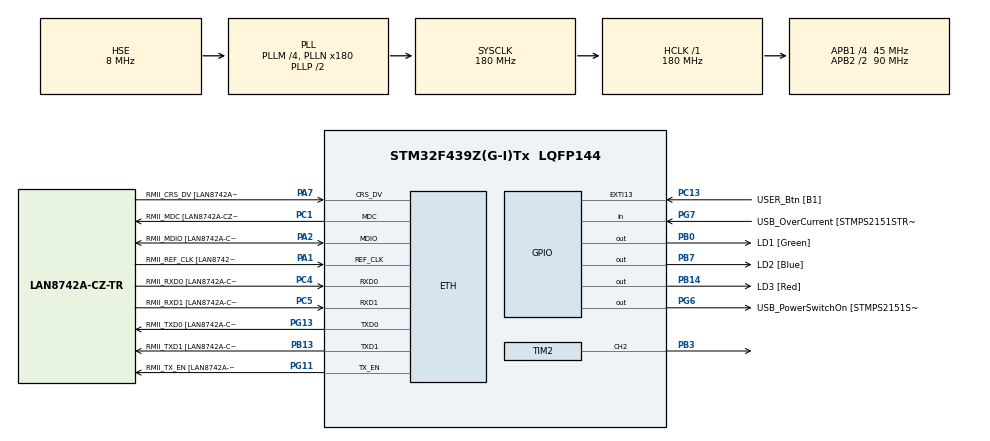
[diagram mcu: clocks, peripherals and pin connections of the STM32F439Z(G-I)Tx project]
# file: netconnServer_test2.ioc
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ETH.MACAddr=00\:80\:E1\:00\:00\:25
ETH.MediaInterface=ETH_MEDIA_INTERFACE_RMII
ETH.PhyAddress=0
ETH.RxMode=ETH_RXINTERRUPT_MODE
FREERTOS.Tasks01=UdsTask,24,128,StartUdsTask,Default,NULL,Dynamic,NULL,NULL;AppTask,24,128,StartAppTask,Default,NULL,Dynamic,NULL,NULL;InitTask,25,128,StartInitTask,Default,NULL,Dynamic,NULL,NULL;RefreshWDGTask,24,128,StartRefreshWDGTask,Default,NULL,Dynamic,NULL,NULL
FREERTOS.configUSE_NEWLIB_REENTRANT=1
HASH.KeySize=17
HASH.SecureHashAlgorithmType=HMAC SHA256
HASH.pKey=00 01 02 03 04 05 06 07 08 09 0A 0B 0C 0D 0E 0F 10
HASH.pKeyInput=000102030405060708090A0B0C0D0E0F10
IWDG.Prescaler=IWDG_PRESCALER_32
IWDG.Reload=4000
LWIP.GATEWAY_ADDRESS=169.254.084.058
LWIP.IP_ADDRESS=169.254.084.059
LWIP.LWIP_DHCP=0
LWIP.LWIP_TCP_SACK_OUT=1
LWIP.MEMP_NUM_TCP_SEG=100
LWIP.MEM_SIZE=21*1024
LWIP.NETMASK_ADDRESS=255.255.000.000
LWIP.PBUF_POOL_BUFSIZE=1500
LWIP.TCP_MSS=1426
LWIP.TCP_SND_BUF=11408
LWIP.TCP_SND_QUEUELEN=100
LWIP.TCP_WND=11408
LWIP.Version=v2.1.2_Cube
Mcu.Family=STM32F4
Mcu.Name=STM32F439Z(G-I)Tx
Mcu.Package=LQFP144
NVIC.ETH_IRQn=true\:5\:0\:false\:false\:true\:true\:false\:true
NVIC.PriorityGroup=NVIC_PRIORITYGROUP_4
NVIC.TIM1_UP_TIM10_IRQn=true\:15\:0\:false\:false\:true\:false\:false\:true
NVIC.TIM2_IRQn=true\:5\:0\:false\:false\:true\:true\:true\:true
NVIC.TimeBase=TIM1_UP_TIM10_IRQn
NVIC.TimeBaseIP=TIM1
PA1.GPIO_Label=RMII_REF_CLK [LAN8742A-CZ-TR_REFCLK0]
PA1.Mode=RMII
PA1.Signal=ETH_REF_CLK
PA10.GPIO_Label=USB_ID
PA10.Signal=USB_OTG_FS_ID
PA11.GPIO_Label=USB_DM
PA11.Signal=USB_OTG_FS_DM
PA12.GPIO_Label=USB_DP
PA12.Signal=USB_OTG_FS_DP
PA13.GPIO_Label=TMS
PA13.Signal=SYS_JTMS-SWDIO
PA14.GPIO_Label=TCK
PA14.Signal=SYS_JTCK-SWCLK
PA2.GPIO_Label=RMII_MDIO [LAN8742A-CZ-TR_MDIO]
PA2.Mode=RMII
PA2.Signal=ETH_MDIO
PA7.GPIO_Label=RMII_CRS_DV [LAN8742A-CZ-TR_CRS_DV]
PA7.Mode=RMII
PA7.Signal=ETH_CRS_DV
PA8.GPIO_Label=USB_SOF [TP1]
PA8.Signal=USB_OTG_FS_SOF
PA9.GPIO_Label=USB_VBUS
PA9.Signal=USB_OTG_FS_VBUS
PB0.GPIO_Label=LD1 [Green]
PB0.Signal=GPIO_Output
PB13.GPIO_Label=RMII_TXD1 [LAN8742A-CZ-TR_TXD1]
PB13.Mode=RMII
PB13.Signal=ETH_TXD1
PB14.GPIO_Label=LD3 [Red]
PB14.Signal=GPIO_Output
PB3.Signal=S_TIM2_CH2
PB7.GPIO_Label=LD2 [Blue]
PB7.Signal=GPIO_Output
PC1.GPIO_Label=RMII_MDC [LAN8742A-CZ-TR_MDC]
PC1.Mode=RMII
PC1.Signal=ETH_MDC
PC13.GPIO_Label=USER_Btn [B1]
PC13.Signal=GPXTI13
PC14/OSC32_IN.Signal=RCC_OSC32_IN
PC15/OSC32_OUT.Signal=RCC_OSC32_OUT
PC4.GPIO_Label=RMII_RXD0 [LAN8742A-CZ-TR_RXD0]
PC4.Mode=RMII
PC4.Signal=ETH_RXD0
PC5.GPIO_Label=RMII_RXD1 [LAN8742A-CZ-TR_RXD1]
PC5.Mode=RMII
PC5.Signal=ETH_RXD1
PD8.GPIO_Label=STLK_RX [STM32F103CBT6_PA3]
PD8.Signal=USART3_TX
PD9.GPIO_Label=STLK_TX [STM32F103CBT6_PA2]
PD9.Signal=USART3_RX
PG11.GPIO_Label=RMII_TX_EN [LAN8742A-CZ-TR_TXEN]
PG11.Mode=RMII
PG11.Signal=ETH_TX_EN
PG13.GPIO_Label=RMII_TXD0 [LAN8742A-CZ-TR_TXD0]
PG13.Mode=RMII
PG13.Signal=ETH_TXD0
PG6.GPIO_Label=USB_PowerSwitchOn [STMPS2151STR_EN]
PG6.Signal=GPIO_Output
PG7.GPIO_Label=USB_OverCurrent [STMPS2151STR_FAULT]
PG7.Signal=GPIO_Input
PH0/OSC_IN.GPIO_Label=MCO [STM32F103CBT6_PA8]
PH0/OSC_IN.Mode=HSE-External-Oscillator
PH0/OSC_IN.Signal=RCC_OSC_IN
PH1/OSC_OUT.Mode=HSE-External-Oscillator
PH1/OSC_OUT.Signal=RCC_OSC_OUT
ProjectManager.HeapSize=0x200
ProjectManager.StackSize=0x400
ProjectManager.TargetToolchain=STM32CubeIDE
RCC.48MHZClocksFreq_Value=45000000
RCC.AHBFreq_Value=180000000
RCC.APB1CLKDivider=RCC_HCLK_DIV4
RCC.APB1Freq_Value=45000000
RCC.APB1TimFreq_Value=90000000
RCC.APB2CLKDivider=RCC_HCLK_DIV2
RCC.APB2Freq_Value=90000000
RCC.APB2TimFreq_Value=180000000
RCC.CortexFreq_Value=180000000
RCC.HCLKFreq_Value=180000000
RCC.HSE_VALUE=8000000
RCC.HSI_VALUE=16000000
RCC.LSE_VALUE=32768
RCC.PLLM=4
RCC.PLLMUL=RCC_PLL_MUL9
RCC.PLLN=180
RCC.PLLQ=8
RCC.PLLSourceVirtual=RCC_PLLSOURCE_HSE
RCC.PRESCALERUSB=RCC_USBCLKSOURCE_PLL_DIV1_5
RCC.SYSCLKFreq_VALUE=180000000
RCC.SYSCLKSource=RCC_SYSCLKSOURCE_PLLCLK
RCC.SYSCLKSourceVirtual=RCC_SYSCLKSOURCE_PLLCLK
RCC.USBFreq_Value=48000000
RCC.VCOOutputFreq_Value=360000000
SH.S_TIM2_CH2.0=TIM2_CH2,PWM Generation2 CH2
TIM2.Channel-PWM\ Generation2\ CH2=TIM_CHANNEL_2
TIM2.CounterMode=TIM_COUNTERMODE_DOWN
TIM2.Period=1000
TIM2.Prescaler=1800
VP_CRC_VS_CRC.Mode=CRC_Activate
VP_FREERTOS_VS_CMSIS_V2.Mode=CMSIS_V2
VP_HASH_VS_HASH.Mode=HASH_Activate
VP_IWDG_VS_IWDG.Mode=IWDG_Activate
VP_LWIP_VS_Enabled.Mode=Enabled
VP_RNG_VS_RNG.Mode=RNG_Activate
VP_RTC_VS_RTC_Activate.Mode=RTC_Enabled
VP_SYS_VS_tim1.Mode=TIM1
VP_TIM2_VS_ClockSourceINT.Mode=Internal
board=NUCLEO-F439ZI

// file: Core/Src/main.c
/* USER CODE BEGIN Header */
/**
  ******************************************************************************
  * @file           : main.c
  * @brief          : Main program body
  ******************************************************************************
  * @attention
  *
  * <h2><center>&copy; Copyright (c) 2023 STMicroelectronics.
  * All rights reserved.</center></h2>
  *
  * This software component is licensed by ST under BSD 3-Clause license,
  * the "License"; You may not use this file except in compliance with the
  * License. You may obtain a copy of the License at:
  *                        opensource.org/licenses/BSD-3-Clause
  *
  ******************************************************************************
  */
/* USER CODE END Header */
#include "main.h"
#include "cmsis_os.h"
#include "crc.h"
#include "hash.h"
#include "iwdg.h"
#include "lwip.h"
#include "rng.h"
#include "rtc.h"
#include "tim.h"
#include "gpio.h"

/* USER CODE BEGIN Includes */
#include "tcp_server.h"
#include "uds_server.h"
/* USER CODE END Includes */

void SystemClock_Config(void);
void MX_FREERTOS_Init(void);

int main(void)
{

  /* MCU Configuration--------------------------------------------------------*/

  /* Reset of all peripherals, Initializes the Flash interface and the Systick. */
  HAL_Init();

  /* Configure the system clock */
  SystemClock_Config();

  /* Initialize all configured peripherals */
  MX_GPIO_Init();
  MX_HASH_Init();
  MX_RNG_Init();
  MX_CRC_Init();
  MX_TIM2_Init();
  MX_IWDG_Init();
  MX_RTC_Init();
  /* USER CODE BEGIN 2 */
  HAL_TIM_PWM_Start(&htim2, TIM_CHANNEL_2);
  /* USER CODE END 2 */

  /* Init scheduler */
  osKernelInitialize();  /* Call init function for freertos objects (in freertos.c) */
  MX_FREERTOS_Init();
  /* Start scheduler */
  osKernelStart();

  /* We should never get here as control is now taken by the scheduler */
  /* Infinite loop */
  while (1)
  {

  }
}

void SystemClock_Config(void)
{
  RCC_OscInitTypeDef RCC_OscInitStruct = {0};
  RCC_ClkInitTypeDef RCC_ClkInitStruct = {0};

  /** Configure the main internal regulator output voltage
  */
  __HAL_RCC_PWR_CLK_ENABLE();
  __HAL_PWR_VOLTAGESCALING_CONFIG(PWR_REGULATOR_VOLTAGE_SCALE1);
  /** Initializes the RCC Oscillators according to the specified parameters
  * in the RCC_OscInitTypeDef structure.
  */
  RCC_OscInitStruct.OscillatorType = RCC_OSCILLATORTYPE_LSI|RCC_OSCILLATORTYPE_HSE;
  RCC_OscInitStruct.HSEState = RCC_HSE_ON;
  RCC_OscInitStruct.LSIState = RCC_LSI_ON;
  RCC_OscInitStruct.PLL.PLLState = RCC_PLL_ON;
  RCC_OscInitStruct.PLL.PLLSource = RCC_PLLSOURCE_HSE;
  RCC_OscInitStruct.PLL.PLLM = 4;
  RCC_OscInitStruct.PLL.PLLN = 180;
  RCC_OscInitStruct.PLL.PLLP = RCC_PLLP_DIV2;
  RCC_OscInitStruct.PLL.PLLQ = 8;
  if (HAL_RCC_OscConfig(&RCC_OscInitStruct) != HAL_OK)
  {
    Error_Handler();
  }
  /** Activate the Over-Drive mode
  */
  if (HAL_PWREx_EnableOverDrive() != HAL_OK)
  {
    Error_Handler();
  }
  /** Initializes the CPU, AHB and APB buses clocks
  */
  RCC_ClkInitStruct.ClockType = RCC_CLOCKTYPE_HCLK|RCC_CLOCKTYPE_SYSCLK
                              |RCC_CLOCKTYPE_PCLK1|RCC_CLOCKTYPE_PCLK2;
  RCC_ClkInitStruct.SYSCLKSource = RCC_SYSCLKSOURCE_PLLCLK;
  RCC_ClkInitStruct.AHBCLKDivider = RCC_SYSCLK_DIV1;
  RCC_ClkInitStruct.APB1CLKDivider = RCC_HCLK_DIV4;
  RCC_ClkInitStruct.APB2CLKDivider = RCC_HCLK_DIV2;

  if (HAL_RCC_ClockConfig(&RCC_ClkInitStruct, FLASH_LATENCY_5) != HAL_OK)
  {
    Error_Handler();
  }
}

void HAL_TIM_PeriodElapsedCallback(TIM_HandleTypeDef *htim)
{
  if (htim->Instance == TIM1) {
    HAL_IncTick();
  }
}

void Error_Handler(void)
{
}

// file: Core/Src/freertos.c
/* USER CODE BEGIN Header */
/**
 ******************************************************************************
 * File Name          : freertos.c
 * Description        : Code for freertos applications
 ******************************************************************************
 * @attention
 *
 * Copyright (c) 2023 STMicroelectronics.
 * All rights reserved.
 *
 * This software is licensed under terms that can be found in the LICENSE file
 * in the root directory of this software component.
 * If no LICENSE file comes with this software, it is provided AS-IS.
 *
 ******************************************************************************
 */
/* USER CODE END Header */

#include "FreeRTOS.h"
#include "task.h"
#include "main.h"
#include "cmsis_os.h"

/* USER CODE BEGIN Includes */
#include "uds_server.h"
#include "tim.h"
#include "rtc.h"
#include "iwdg.h"
/* USER CODE END Includes */

/* Definitions for UdsTask */
osThreadId_t UdsTaskHandle;
const osThreadAttr_t UdsTask_attributes = {
  .name = "UdsTask",
  .stack_size = 128 * 4,
  .priority = (osPriority_t) osPriorityNormal,
};
/* Definitions for AppTask */
osThreadId_t AppTaskHandle;
const osThreadAttr_t AppTask_attributes = {
  .name = "AppTask",
  .stack_size = 128 * 4,
  .priority = (osPriority_t) osPriorityNormal,
};
/* Definitions for InitTask */
osThreadId_t InitTaskHandle;
const osThreadAttr_t InitTask_attributes = {
  .name = "InitTask",
  .stack_size = 128 * 4,
  .priority = (osPriority_t) osPriorityNormal1,
};
/* Definitions for RefreshWDGTask */
osThreadId_t RefreshWDGTaskHandle;
const osThreadAttr_t RefreshWDGTask_attributes = {
  .name = "RefreshWDGTask",
  .stack_size = 128 * 4,
  .priority = (osPriority_t) osPriorityNormal,
};

/* USER CODE BEGIN FunctionPrototypes */
static void M_SET_TIMER_DUTY(unsigned int DUTY_CYCLE);
/* USER CODE END FunctionPrototypes */

void StartUdsTask(void *argument);
void StartAppTask(void *argument);
void StartInitTask(void *argument);
void StartRefreshWDGTask(void *argument);

extern void MX_LWIP_Init(void);
void MX_FREERTOS_Init(void); /* (MISRA C 2004 rule 8.1) */

void MX_FREERTOS_Init(void) {

  /* Create the thread(s) */
  /* creation of UdsTask */
  UdsTaskHandle = osThreadNew(StartUdsTask, NULL, &UdsTask_attributes);

  /* creation of AppTask */
  AppTaskHandle = osThreadNew(StartAppTask, NULL, &AppTask_attributes);

  /* creation of InitTask */
  InitTaskHandle = osThreadNew(StartInitTask, NULL, &InitTask_attributes);

  /* creation of RefreshWDGTask */
  RefreshWDGTaskHandle = osThreadNew(StartRefreshWDGTask, NULL, &RefreshWDGTask_attributes);

}

void StartUdsTask(void *argument)
{
  /* init code for LWIP */
  MX_LWIP_Init();
  /* USER CODE BEGIN StartUdsTask */
	UDS_init();
	/* Infinite loop */
	for(;;)
	{
		osDelay(1);
	}
  /* USER CODE END StartUdsTask */
}

void StartAppTask(void *argument)
{
  /* USER CODE BEGIN StartAppTask */
	/* Infinite loop */
	for(;;)
	{
		M_SET_TIMER_DUTY(25);
		HAL_Delay(700);
		M_SET_TIMER_DUTY(125);
		HAL_Delay(700);
	}
  /* USER CODE END StartAppTask */
}

void StartInitTask(void *argument)
{
  /* USER CODE BEGIN StartInitTask */
	//zero attempt counter
	write_backup_reg(0x00 , 0x00);

	//refresh watchdog
	HAL_IWDG_Refresh(&hiwdg);

	//if you want to revoke root 1
	//	write_backup_reg(0x04, 0x01);
	//if you want to revoke root 2
	//	write_backup_reg(0x05, 0x01);

	//if you want update version
	write_backup_reg(0x1,0x5);
	write_backup_reg(0x2,0x5);
	write_backup_reg(0x3,0x5);

	osThreadTerminate(InitTaskHandle);
	/* Infinite loop */
	for(;;)
	{
		osDelay(1);
	}
  /* USER CODE END StartInitTask */
}

void StartRefreshWDGTask(void *argument)
{
  /* USER CODE BEGIN StartRefreshWDGTask */
	/* Infinite loop */
	for(;;)
	{
		//refresh watchdog
		HAL_IWDG_Refresh(&hiwdg);
		osDelay(2000);
	}
  /* USER CODE END StartRefreshWDGTask */
}

/* USER CODE BEGIN Application */
static void M_SET_TIMER_DUTY(unsigned int DUTY_CYCLE)
{
	htim2.Instance -> CCR2 = DUTY_CYCLE;
}
/* USER CODE END Application */
